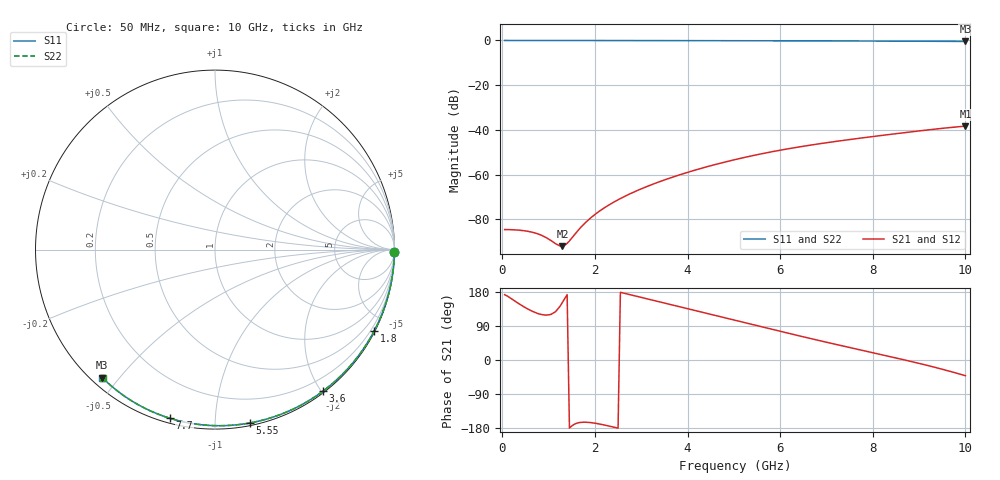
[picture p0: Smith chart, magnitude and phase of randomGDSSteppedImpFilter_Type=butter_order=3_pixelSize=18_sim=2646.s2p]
! freq	dB(S11)	phase(S11)	dB(S12)	phase(S12)
!  dB(S21)	phase(S21)	dB(S22)	phase(S22)
!S-par simulation data
#  GHz  S  DB  R 50
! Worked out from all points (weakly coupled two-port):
!   200 points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, 50 MHz to 10 GHz, reference 50 ohm
!   highest |S21| = -38.29 dB at 10 GHz (marker M1); lowest = -91.9 dB at 1.3 GHz (marker M2)
!   lowest |S11| = -0.4 dB at 10 GHz (marker M3), VSWR 39.31, Z = 1.53 - j22.6 ohm
!   |S11| at or under -10 dB: nowhere
!   |S22| runs from -0.4 to 0.0 dB; largest |S21 - S12| = 0
!   S11 on the Smith chart (normalised r, x): 50 MHz: open; 1.8 GHz: 0.04, -4.18; 3.6 GHz: 0.02, -2.02; 5.55 GHz: 0.02, -1.22; 7.7 GHz: 0.02, -0.77; 10 GHz: 0.03, -0.45
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0.05  -0.00 -0.8  -84.50 172.4  -84.50 172.4  -0.00 -0.8
0.65  -0.01 -9.8  -85.71 128.5  -85.71 128.5  -0.01 -9.8
1.3  -0.02 -19.6  -91.92 152.5  -91.92 152.5  -0.02 -19.5
1.75  -0.03 -26.2  -82.32 -164.2  -82.32 -164.2  -0.03 -26.1
1.8  -0.03 -26.9  -81.30 -164.1  -81.30 -164.1  -0.03 -26.9
1.85  -0.04 -27.7  -80.35 -164.5  -80.35 -164.5  -0.04 -27.6
1.9  -0.04 -28.4  -79.44 -165.0  -79.44 -165.0  -0.04 -28.3
2.05  -0.04 -30.6  -76.98 -167.8  -76.98 -167.8  -0.04 -30.5
2.2  -0.04 -32.8  -74.84 -171.5  -74.84 -171.5  -0.04 -32.7
2.55  -0.05 -37.8  -70.63 178.6  -70.63 178.6  -0.05 -37.8
2.95  -0.06 -43.5  -66.74 166.7  -66.74 166.7  -0.06 -43.5
3.4  -0.07 -49.9  -63.07 153.3  -63.07 153.3  -0.07 -49.8
3.6  -0.07 -52.7  -61.61 147.3  -61.61 147.3  -0.07 -52.6
4.3  -0.09 -62.2  -57.12 126.6  -57.12 126.6  -0.09 -62.1
5.05  -0.11 -72.2  -53.11 104.3  -53.11 104.3  -0.11 -72.1
5.55  -0.13 -78.7  -50.84 89.3  -50.84 89.3  -0.13 -78.5
6.1  -0.15 -85.6  -48.67 72.9  -48.67 72.9  -0.15 -85.5
6.7  -0.18 -93.0  -46.62 55.4  -46.62 55.4  -0.18 -92.9
7.7  -0.24 -105.0  -43.73 27.5  -43.73 27.5  -0.24 -104.9
8.35  -0.29 -112.6  -42.04 9.6  -42.04 9.6  -0.29 -112.5
9.15  -0.36 -121.8  -40.06 -13.4  -40.06 -13.4  -0.35 -121.6
10  -0.44 -131.4  -38.29 -41.4  -38.29 -41.4  -0.44 -131.1
